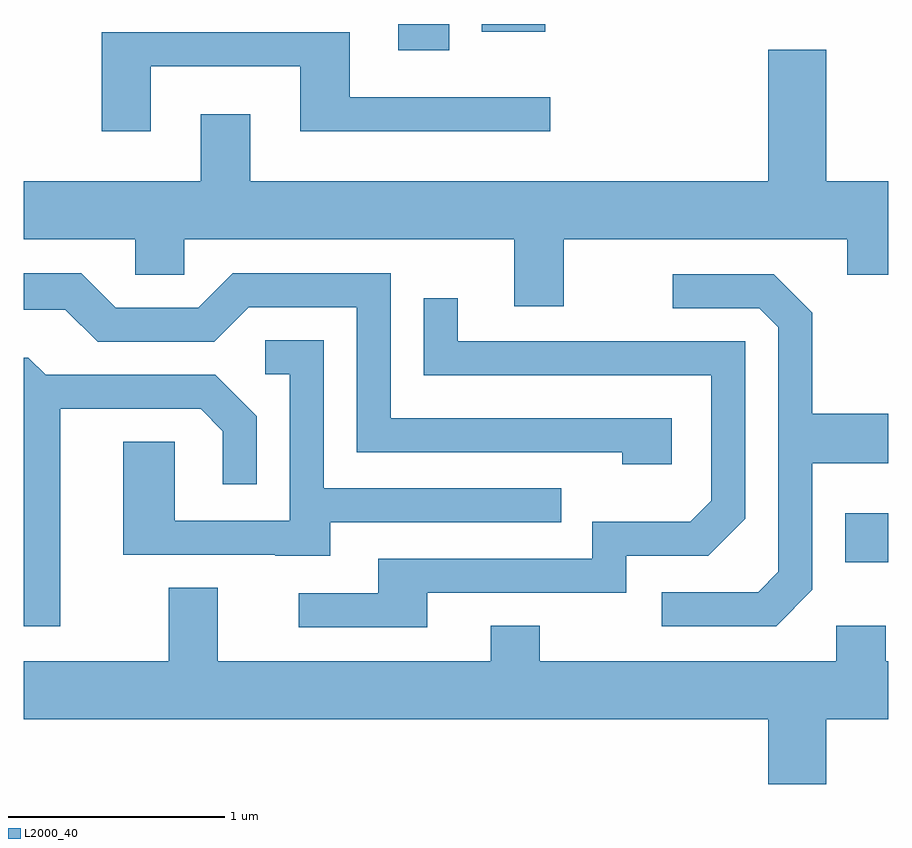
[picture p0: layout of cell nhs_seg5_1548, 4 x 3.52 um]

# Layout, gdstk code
import gdstk
lib = gdstk.Library(unit=1e-6, precision=1e-09)
def R(c, l, rs):  # rectangles x0, y0, x1, y1
    for r in rs: c.add(gdstk.rectangle(r[:2], r[2:], *l))
def P(c, l, *ps):  # polygons
    for p in ps: c.add(gdstk.Polygon(p, *l))
L2000_40 = (2000, 40)

nhs_seg5_1548 = lib.new_cell('nhs_seg5_1548')
R(nhs_seg5_1548, L2000_40, [(235.411,1397.581,235.611,1397.809), (233.343,1399.951,233.579,1400.072), (233.731,1400.036,234.024,1400.072)])
P(nhs_seg5_1548, L2000_40, [(232.199,1399.876),(232.891,1399.876),(232.891,1399.576),(234.048,1399.576),(234.048,1399.734),(233.119,1399.734),(233.119,1400.034),(231.971,1400.034),(231.971,1399.576),(232.199,1399.576)],
  [(234.109,1399.076),(235.421,1399.076),(235.421,1398.911),(235.611,1398.911),(235.611,1399.344),(235.324,1399.344),(235.324,1399.954),(235.056,1399.954),(235.056,1399.344),(232.659,1399.344),(232.659,1399.654),(232.431,1399.654),(232.431,1399.344),(231.611,1399.344),(231.611,1399.076),(232.126,1399.076),(232.126,1398.911),(232.354,1398.911),(232.354,1399.076),(233.881,1399.076),(233.881,1398.766),(234.109,1398.766)],
  [(234.609,1398.249),(233.309,1398.249),(233.309,1398.919),(232.579,1398.919),(232.419,1398.759),(232.037,1398.759),(231.877,1398.919),(231.611,1398.919),(231.611,1398.751),(231.804,1398.751),(231.954,1398.601),(232.492,1398.601),(232.652,1398.761),(233.151,1398.761),(233.151,1398.091),(234.381,1398.091),(234.381,1398.036),(234.609,1398.036)],
  [(235.259,1397.454),(235.259,1398.041),(235.611,1398.041),(235.611,1398.269),(235.259,1398.269),(235.259,1398.737),(235.082,1398.914),(234.613,1398.914),(234.613,1398.756),(235.014,1398.756),(235.101,1398.669),(235.101,1397.537),(235.009,1397.444),(234.563,1397.444),(234.563,1397.286),(235.092,1397.286)],
  [(233.479,1397.441),(234.399,1397.441),(234.399,1397.611),(234.777,1397.611),(234.949,1397.784),(234.949,1398.604),(233.619,1398.604),(233.619,1398.803),(233.461,1398.803),(233.461,1398.446),(234.791,1398.446),(234.791,1397.867),(234.694,1397.769),(234.241,1397.769),(234.241,1397.599),(233.251,1397.599),(233.251,1397.439),(232.883,1397.439),(232.883,1397.281),(233.479,1397.281)],
  [(233.029,1397.766),(234.098,1397.766),(234.098,1397.924),(232.999,1397.924),(232.999,1398.609),(232.728,1398.609),(232.728,1398.451),(232.841,1398.451),(232.841,1397.774),(232.309,1397.774),(232.309,1398.139),(232.071,1398.139),(232.071,1397.616),(232.775,1397.616),(232.775,1397.611),(233.029,1397.611)],
  [(231.779,1398.291),(232.429,1398.291),(232.531,1398.189),(232.531,1397.943),(232.689,1397.943),(232.689,1398.257),(232.497,1398.449),(231.712,1398.449),(231.632,1398.529),(231.611,1398.529),(231.611,1397.286),(231.779,1397.286)],
  [(235.324,1396.856),(235.611,1396.856),(235.611,1397.124),(235.599,1397.124),(235.599,1397.289),(235.371,1397.289),(235.371,1397.124),(233.999,1397.124),(233.999,1397.289),(233.771,1397.289),(233.771,1397.124),(232.509,1397.124),(232.509,1397.464),(232.281,1397.464),(232.281,1397.124),(231.611,1397.124),(231.611,1396.856),(235.056,1396.856),(235.056,1396.556),(235.324,1396.556)])

lib.write_gds('nhs_seg5_1548.gds')
